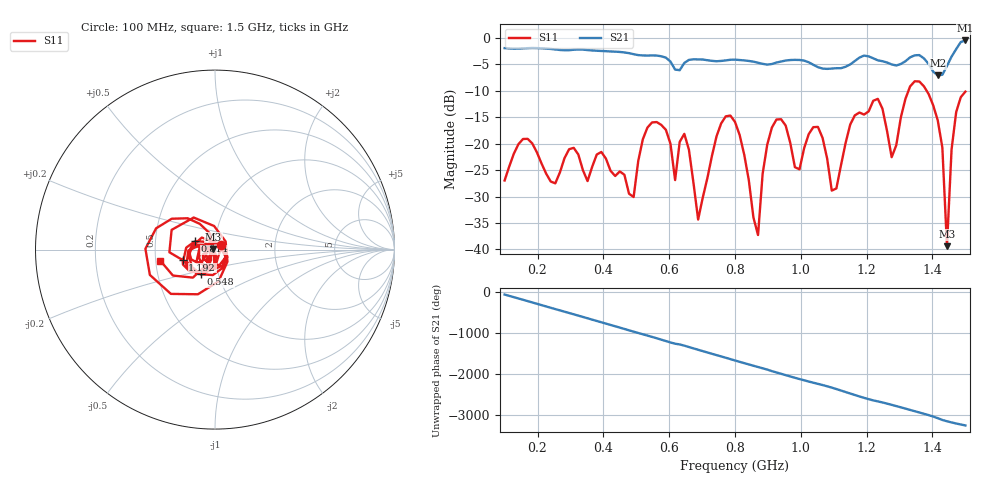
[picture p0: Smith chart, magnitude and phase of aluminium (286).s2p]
! NanoVNA-App
! Date: 2025-09-25 14:57:30
! Start: 100MHz Stop: 1,5GHz Points: 101
! S-Parameter data: F S11 S21 S12 S22
# Hz S RI R 50
!  Frequency  S11_Real  S11_Imag  S21_Real  S21_Imag  S12_Real  S12_Imag  S22_Real  S22_Imag
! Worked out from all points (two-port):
!   101 points, 100 MHz to 1.5 GHz, reference 50 ohm
!   highest |S21| = -0.47 dB at 1.5 GHz (marker M1); lowest = -7.1 dB at 1.416 GHz (marker M2)
!   |S21| within 3 dB of the highest: start of sweep to 576.6 MHz; 1.459 GHz to end of sweep (the widest 2 of 4)
!   lowest |S11| = -39.4 dB at 1.444 GHz (marker M3), VSWR 1.02, Z = 49 + j0.303 ohm
!   |S11| at or under -10 dB: start of sweep to 1.327 GHz; 1.382 GHz to end of sweep
!   S12 and S22 are empty: the file has one direction only
!   S11 on the Smith chart (normalised r, x): 100 MHz: 1.07, +0.06; 548 MHz: 0.82, -0.23; 814 MHz: 0.80, +0.07; 1.192 GHz: 0.69, -0.08; 1.5 GHz: 0.53, -0.07
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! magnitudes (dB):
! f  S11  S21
! 100 MHz  -27.0  -1.9
! 338 MHz  -25.0  -2.2
! 492 MHz  -30.1  -3.1
! 548 MHz  -16.0  -3.3
! 576 MHz  -16.5  -3.5
! 618 MHz  -26.9  -6.0
! 646 MHz  -18.1  -4.7
! 688 MHz  -34.3  -4.1
! 800 MHz  -15.9  -4.1
! 814 MHz  -18.3  -4.2
! 870 MHz  -37.3  -4.7
! 912 MHz  -17.0  -4.9
! 996 MHz  -24.9  -4.2
! 1.038 GHz  -16.9  -5.1
! 1.094 GHz  -28.9  -5.8
! 1.192 GHz  -14.5  -3.3
! 1.276 GHz  -22.6  -5.0
! 1.346 GHz  -8.2  -3.3
! 1.416 GHz  -15.6  -7.1
! 1.444 GHz  -39.4  -5.3
! 1.458 GHz  -21.1  -3.5
! 1.5 GHz  -10.1  -0.5
